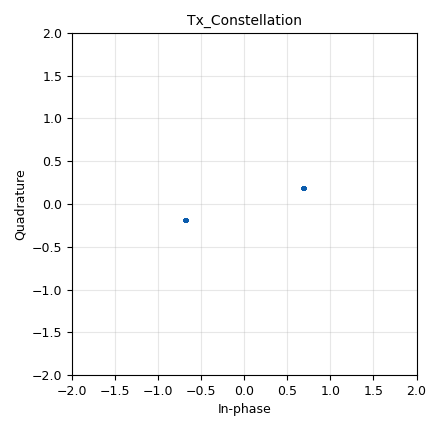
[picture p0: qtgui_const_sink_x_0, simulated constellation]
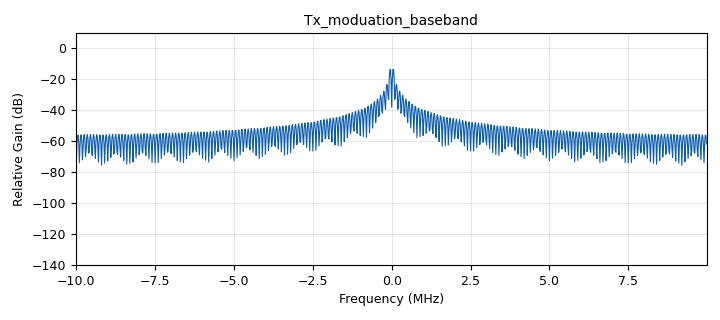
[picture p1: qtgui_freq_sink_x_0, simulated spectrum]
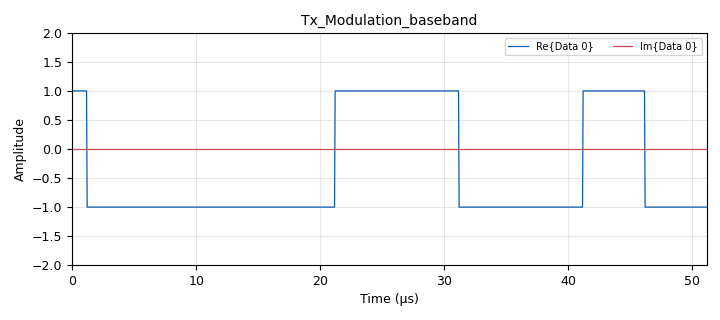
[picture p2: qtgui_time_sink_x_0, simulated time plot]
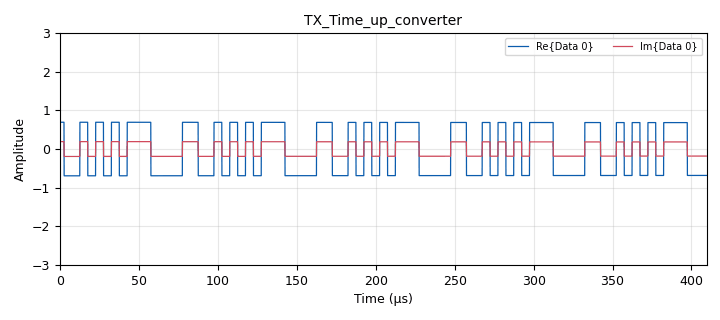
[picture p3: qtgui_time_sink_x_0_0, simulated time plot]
options:
  parameters:
    generate_options: qt_gui
    id: new_hier
    output_language: python
    title: Not titled yet
  states: {}

blocks:
- name: center_freq
  id: variable
  parameters:
    value: '200000000'
  states: {}
- name: rx_gain
  id: variable_qtgui_range
  parameters:
    start: '0'
    step: '1'
    stop: '100'
    value: '10'
  states: {}
- name: samp_rate
  id: variable
  parameters:
    value: '20000000'
  states: {}
- name: sps
  id: variable
  parameters:
    value: '100'
  states: {}
- name: tx_attenuation
  id: variable_qtgui_range
  parameters:
    start: '0'
    step: '1'
    stop: '100'
    value: '10'
  states: {}
- name: analog_sig_source_x_0
  id: analog_sig_source_x
  parameters:
    amp: '1'
    freq: center_freq
    offset: '0'
    phase: '0'
    samp_rate: samp_rate
    type: complex
    waveform: analog.GR_TRI_WAVE
  states: {}
- name: blocks_multiply_xx_0
  id: blocks_multiply_xx
  parameters:
    type: complex
  states: {}
- name: blocks_repeat_0
  id: blocks_repeat
  parameters:
    interp: sps
    type: complex
  states: {}
- name: blocks_vector_source_x_0
  id: blocks_vector_source_x
  parameters:
    repeat: 'True'
    type: byte
    vector: (0,1,1,1,1,0,0,1,1,0,1,0,1,0,1, 0, 0)
  states: {}
- name: digital_chunks_to_symbols_xx_0
  id: digital_chunks_to_symbols_xx
  parameters:
    dimension: '1'
    in_type: byte
    out_type: complex
    symbol_table: '[1,-1]'
  states: {}
- name: iio_pluto_sink_0
  id: iio_pluto_sink
  parameters:
    attenuation1: tx_attenuation
    bandwidth: '20000000'
    buffer_size: '32768'
    cyclic: 'False'
    filter_source: '''Auto'''
    frequency: center_freq
    samplerate: samp_rate
    type: fc32
    uri: usb:1.2.5
  states: {}
- name: iio_pluto_source_0
  id: iio_pluto_source
  parameters:
    bandwidth: '20000000'
    bbdc: 'True'
    buffer_size: '32768'
    filter_source: '''Auto'''
    frequency: center_freq
    gain1: '''manual'''
    manual_gain1: rx_gain
    quadrature: 'True'
    rfdc: 'True'
    samplerate: samp_rate
    type: fc32
    uri: usb:1.3.5
  states: {}
- name: qtgui_const_sink_x_0
  id: qtgui_const_sink_x
  parameters:
    name: Tx_Constellation
    size: 1024*8
    type: complex
  states: {}
- name: qtgui_const_sink_x_0_0
  id: qtgui_const_sink_x
  parameters:
    name: Rx_Constellation
    size: 1024*8
    type: complex
  states: {}
- name: qtgui_freq_sink_x_0
  id: qtgui_freq_sink_x
  parameters:
    bw: samp_rate
    fc: '0'
    fftsize: '1024'
    name: Tx_moduation_baseband
    type: complex
  states: {}
- name: qtgui_freq_sink_x_1
  id: qtgui_freq_sink_x
  parameters:
    bw: samp_rate
    fc: '0'
    fftsize: '1024'
    name: RX_Freq
    type: complex
  states: {}
- name: qtgui_time_sink_x_0
  id: qtgui_time_sink_x
  parameters:
    name: Tx_Modulation_baseband
    size: '1024'
    srate: samp_rate
    type: complex
    ymax: '2'
    ymin: '-2'
  states: {}
- name: qtgui_time_sink_x_0_0
  id: qtgui_time_sink_x
  parameters:
    grid: 'True'
    name: TX_Time_up_converter
    size: 1024*8
    srate: samp_rate
    type: complex
    ymax: '3'
    ymin: '-3'
  states: {}
- name: qtgui_time_sink_x_1
  id: qtgui_time_sink_x
  parameters:
    name: RX_time
    size: '1024'
    srate: samp_rate
    type: complex
  states: {}

connections:
- [analog_sig_source_x_0, '0', blocks_multiply_xx_0, '0']
- [blocks_multiply_xx_0, '0', qtgui_const_sink_x_0, '0']
- [blocks_multiply_xx_0, '0', qtgui_time_sink_x_0_0, '0']
- [blocks_repeat_0, '0', blocks_multiply_xx_0, '1']
- [blocks_repeat_0, '0', iio_pluto_sink_0, '0']
- [blocks_repeat_0, '0', qtgui_freq_sink_x_0, '0']
- [blocks_repeat_0, '0', qtgui_time_sink_x_0, '0']
- [blocks_vector_source_x_0, '0', digital_chunks_to_symbols_xx_0, '0']
- [digital_chunks_to_symbols_xx_0, '0', blocks_repeat_0, '0']
- [iio_pluto_source_0, '0', qtgui_const_sink_x_0_0, '0']
- [iio_pluto_source_0, '0', qtgui_freq_sink_x_1, '0']
- [iio_pluto_source_0, '0', qtgui_time_sink_x_1, '0']

metadata:
  file_format: 1
  grc_version: 3.10.11.0
